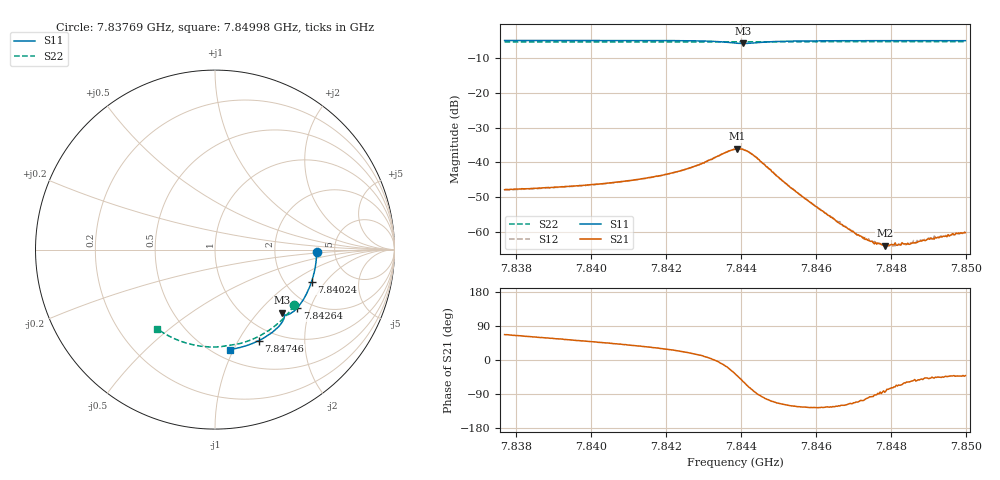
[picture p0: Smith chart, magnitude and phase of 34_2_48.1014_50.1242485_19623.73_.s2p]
#  HZ  S  RI  R  50.00
! Rohde & Schwarz Vector Network Analyzer
! Rohde-Schwarz,ZNB20-2Port,1311601062101988,3.16
! Created: UTC 12/23/2023, 3:38:03 AM
! freq[Hz]  re:S11  im:S11  re:S21  im:S21  re:S12  im:S12  re:S22  im:S22
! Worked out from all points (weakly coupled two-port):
!   401 points, 7.83769 GHz to 7.84998 GHz, reference 50 ohm
!   highest |S21| = -36.12 dB at 7.8439 GHz (marker M1); lowest = -64.0 dB at 7.84783 GHz (marker M2)
!   lowest |S11| = -5.8 dB at 7.84405 GHz (marker M3), VSWR 3.11, Z = 71.5 - j68.2 ohm
!   |S11| at or under -10 dB: nowhere
!   |S22| runs from -5.4 to -5.3 dB; largest |S21 - S12| = 0.00031
!   S11 on the Smith chart (normalised r, x): 7.83769 GHz: 3.61, -0.12; 7.84024 GHz: 2.77, -1.46; 7.84264 GHz: 1.71, -1.63; 7.84746 GHz: 0.82, -1.22; 7.84998 GHz: 0.59, -0.97
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7.837689e9  0.5666 -0.0109  0.00157 0.0037  0.00157 0.00364  0.4411 -0.3112
7.839748e9  0.5478 -0.1469  0.00293 0.00357  0.00289 0.00354  0.344 -0.4173
7.840239e9  0.5382 -0.1786  0.00336 0.00353  0.00332 0.00348  0.3165 -0.4386
7.841807e9  0.4932 -0.2767  0.00544 0.00331  0.00541 0.00327  0.2218 -0.4939
7.842636e9  0.4573 -0.3258  0.0079 0.00264  0.00785 0.00263  0.1673 -0.5149
7.843374e9  0.4102 -0.3612  0.0122 -0.000821  0.0122 -0.000861  0.1169 -0.5279
7.843835e9  0.3765 -0.3593  0.0124 -0.00911  0.0126 -0.00899  0.086 -0.5321
7.843896e9  0.3744 -0.3567  0.0117 -0.0104  0.0117 -0.0102  0.0822 -0.5326
7.84405e9  0.3742 -0.3511  0.00829 -0.0128  0.00851 -0.0128  0.0727 -0.5342
7.844357e9  0.384 -0.3557  0.00126 -0.0121  0.00135 -0.0122  0.053 -0.5379
7.845094e9  0.3729 -0.4061  -0.00241 -0.00486  -0.00242 -0.0049  0.0015 -0.5427
7.845893e9  0.3334 -0.4494  -0.00146 -0.00204  -0.00147 -0.00207  -0.055 -0.5408
7.8466e9  0.2938 -0.4789  -0.000685 -0.00116  -0.00075 -0.00116  -0.1041 -0.5342
7.847092e9  0.265 -0.4961  -0.000323 -0.000834  -0.00034 -0.000838  -0.138 -0.5266
7.847461e9  0.2427 -0.5078  -9.04e-05 -0.000718  -8.89e-05 -0.000716  -0.1631 -0.5196
7.847829e9  0.22 -0.5183  5.26e-05 -0.000627  0.00012 -0.00065  -0.1875 -0.5118
7.847952e9  0.2123 -0.5216  0.000159 -0.000619  0.000138 -0.000603  -0.1955 -0.5088
7.848413e9  0.1834 -0.5323  0.000349 -0.000558  0.000347 -0.000554  -0.2255 -0.4965
7.848536e9  0.1757 -0.5349  0.000381 -0.000559  0.000409 -0.000564  -0.2335 -0.493
7.848997e9  0.1461 -0.5437  0.000516 -0.000599  0.000544 -0.000607  -0.2623 -0.4784
7.849796e9  0.0939 -0.5547  0.000706 -0.000646  0.000717 -0.000588  -0.3101 -0.4495
7.84998e9  0.0818 -0.5567  0.000726 -0.000637  0.00076 -0.000655  -0.3208 -0.442
